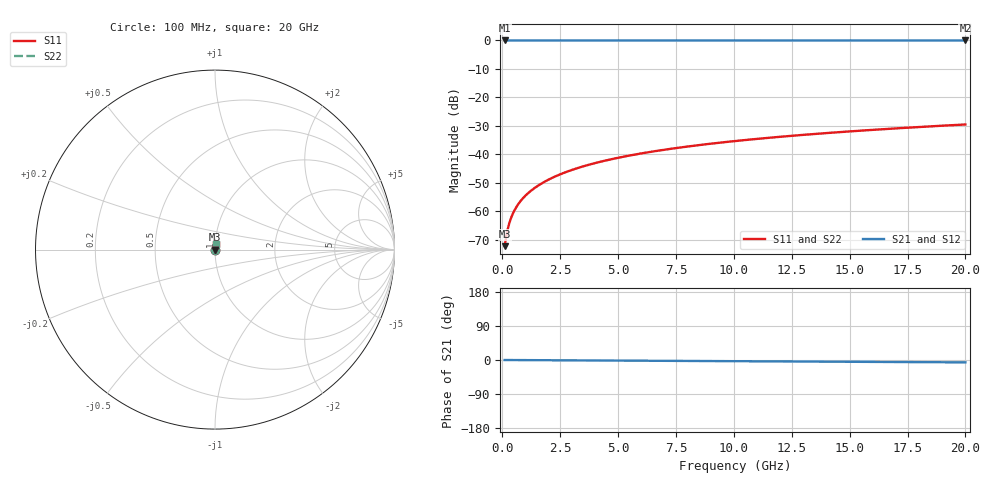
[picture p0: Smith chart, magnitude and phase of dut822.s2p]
! Touchstone file exported from HFSS 2026.1.0
!  File:  C:/ffzhzh/LocalFiles/Ansys_Project_Files/temp_train_TSV_822_1783184524_18472.aedt
!  Generated:  01:03:45 AM Jul  5, 2026
!  Design:  TSV
!  Project:  temp_train_TSV_822_1783184524_18472
! Variables:
!  h_bsmrdl = 2um
!  h_ox = 20um
!  h_rdl = 5um
!  h_sub = 54.44um
!  h_tmrdl = 5um
!  h_tsv = 54.44um
!  h_via = 3um
!  l_bsmrdl = 300um
!  l_sub = 415.62um
!  l_tmrdl = 200um
!  m_sub = 200um
!  pitch = 45.91um
!  r_tsv = 7.81um
!  s_tmrdl = 10um
!  w_bsmrdl = 18um
!  w_sub = 500um
!  w_tmrdl = 12um
!  x_tsv_center1 = 206um
!  x_tsv_center2 = 524um
!  x_tsv_center3 = 736um
!  x_tsv_center4 = 1054um
!  x_tsv_center5 = 1266um
!  x_tsv_center6 = 1584um
# GHz S MA R 50.000000
! Terminal data exported
! Port[1] = TSV1_1_T1
! Port[2] = TSV1_1_T2
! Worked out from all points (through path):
!   200 points, 100 MHz to 20 GHz, reference 50 ohm
!   highest |S21| = 0.00 dB at 100 MHz (marker M1); lowest = 0.0 dB at 20 GHz (marker M2)
!   lowest |S11| = -72.3 dB at 100 MHz (marker M3), VSWR 1.00, Z = 50 + j0.02 ohm
!   |S11| at or under -10 dB: start of sweep to end of sweep
!   |S22| runs from -72.3 to -29.5 dB; largest |S21 - S12| = 3.2e-15
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0.1  0.0002426 55.4  0.9999 -0.0  0.9999 -0.0  0.0002426 55.4
! Gamma 0 0 0 0
! Port Impedance 50 0 50 0
0.2  0.0004235 69.7  0.9999 -0.1  0.9999 -0.1  0.0004235 69.7
0.3  0.0006128 74.9  0.9998 -0.1  0.9998 -0.1  0.0006128 74.9
0.4  0.0008013 77.3  0.9998 -0.1  0.9998 -0.1  0.0008013 77.3
0.5  0.0009868 78.6  0.9998 -0.2  0.9998 -0.2  0.0009868 78.6
0.6  0.001169 79.5  0.9998 -0.2  0.9998 -0.2  0.001169 79.5
0.7  0.001348 80.1  0.9998 -0.2  0.9998 -0.2  0.001348 80.1
0.8  0.001525 80.7  0.9998 -0.3  0.9998 -0.3  0.001525 80.7
1  0.001874 81.4  0.9997 -0.3  0.9997 -0.3  0.001874 81.4
1.4  0.002562 82.6  0.9997 -0.4  0.9997 -0.4  0.002562 82.6
1.7  0.003075 83.2  0.9997 -0.5  0.9997 -0.5  0.003075 83.2
2  0.003587 83.6  0.9996 -0.6  0.9996 -0.6  0.003587 83.6
2.7  0.004781 84.3  0.9996 -0.9  0.9996 -0.9  0.004781 84.3
3.5  0.006141 84.6  0.9995 -1.1  0.9995 -1.1  0.006141 84.6
4.2  0.007324 84.8  0.9995 -1.3  0.9995 -1.3  0.007324 84.8
5  0.00867 84.8  0.9994 -1.6  0.9994 -1.6  0.00867 84.8
6.8  0.01168 84.7  0.9993 -2.1  0.9993 -2.1  0.01168 84.7
8.3  0.01417 84.5  0.9992 -2.6  0.9992 -2.6  0.01417 84.5
10.1  0.01715 84.2  0.9991 -3.2  0.9991 -3.2  0.01715 84.2
13.4  0.02259 83.5  0.9989 -4.2  0.9989 -4.2  0.02259 83.5
16.7  0.028 82.7  0.9986 -5.2  0.9986 -5.2  0.028 82.7
20  0.03338 81.8  0.9983 -6.3  0.9983 -6.3  0.03338 81.8
